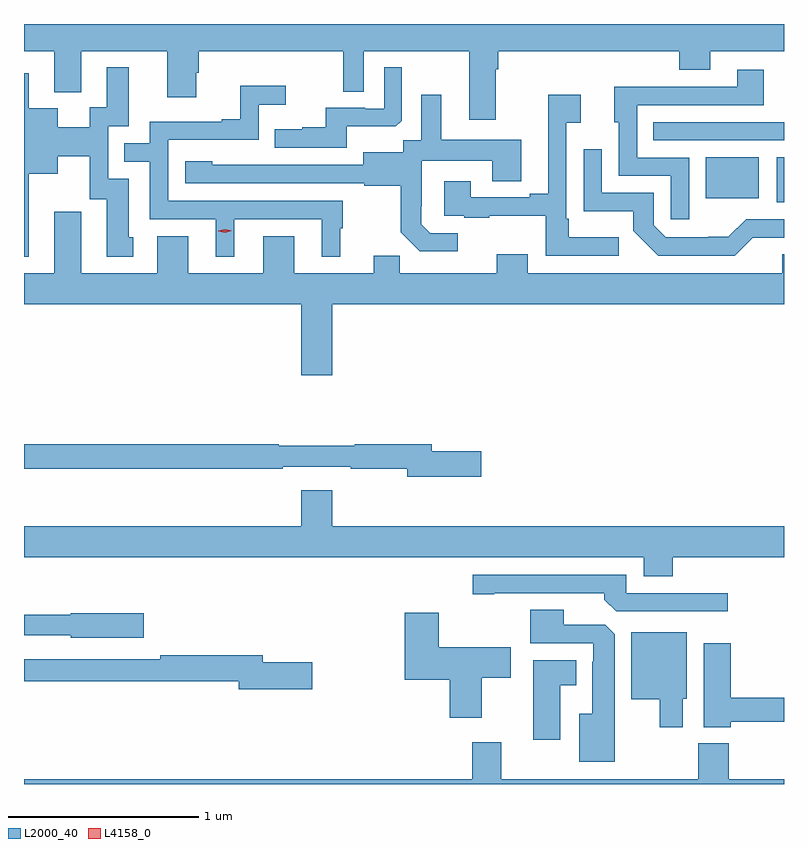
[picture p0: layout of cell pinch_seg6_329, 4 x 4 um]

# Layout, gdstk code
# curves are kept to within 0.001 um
import gdstk
lib = gdstk.Library(unit=1e-6, precision=1e-09)
def R(c, l, rs):  # rectangles x0, y0, x1, y1
    for r in rs: c.add(gdstk.rectangle(r[:2], r[2:], *l))
def P(c, l, *ps):  # polygons
    for p in ps: c.add(gdstk.Polygon(p, *l))
L2000_40 = (2000, 40)
L4158_0 = (4158, 0)

pinch_seg6_329 = lib.new_cell('pinch_seg6_329')
R(pinch_seg6_329, L2000_40, [(730.946,978.509,730.985,978.745), (730.574,978.53,730.852,978.745)])
P(pinch_seg6_329, L2000_40, [(729.469,979.208),(729.482,979.208),(729.482,979.304),(730.433,979.304),(730.433,979.205),(730.597,979.205),(730.597,979.304),(730.985,979.304),(730.985,979.447),(726.985,979.447),(726.985,979.304),(727.145,979.304),(727.145,979.088),(727.285,979.088),(727.285,979.304),(727.739,979.304),(727.739,979.062),(727.891,979.062),(727.891,979.191),(727.904,979.191),(727.904,979.304),(728.664,979.304),(728.664,979.09),(728.772,979.09),(728.772,979.304),(729.329,979.304),(729.329,978.942),(729.469,978.942)],
  [(728.683,978.908),(728.941,978.908),(728.973,978.939),(728.973,979.219),(728.88,979.219),(728.88,979.002),(728.78,979.002),(728.78,979.005),(728.573,979.005),(728.573,978.904),(728.449,978.904),(728.449,978.892),(728.305,978.892),(728.305,978.795),(728.683,978.795)],
  [(727.009,978.659),(727.162,978.659),(727.162,978.752),(727.332,978.752),(727.332,978.525),(727.421,978.525),(727.421,978.222),(727.561,978.222),(727.561,978.324),(727.537,978.324),(727.537,978.633),(727.428,978.633),(727.428,978.909),(727.537,978.909),(727.537,979.219),(727.421,979.219),(727.421,979.01),(727.331,979.01),(727.331,978.904),(727.162,978.904),(727.162,979.003),(727.009,979.003),(727.009,979.189),(726.985,979.189),(726.985,978.221),(727.009,978.221)],
  [(730.485,978.744),(730.212,978.744),(730.212,979.02),(730.879,979.02),(730.879,979.207),(730.739,979.207),(730.739,979.116),(730.309,979.116),(730.309,979.118),(730.091,979.118),(730.091,978.93),(730.116,978.93),(730.116,978.648),(730.389,978.648),(730.389,978.42),(730.485,978.42)],
  [(728.092,978.42),(728.552,978.42),(728.552,978.221),(728.65,978.221),(728.65,978.372),(728.662,978.372),(728.662,978.516),(727.743,978.516),(727.743,978.837),(728.22,978.837),(728.22,979.022),(728.362,979.022),(728.362,979.121),(728.122,979.121),(728.122,978.946),(728.027,978.946),(728.027,978.933),(727.647,978.933),(727.647,978.819),(727.513,978.819),(727.513,978.723),(727.647,978.723),(727.647,978.42),(727.994,978.42),(727.994,978.221),(728.092,978.221)],
  [(729.268,978.345),(729.123,978.345),(729.076,978.392),(729.076,978.487),(729.078,978.487),(729.078,978.728),(729.449,978.728),(729.449,978.619),(729.601,978.619),(729.601,978.838),(729.181,978.838),(729.181,979.075),(729.077,979.075),(729.077,978.836),(728.982,978.836),(728.982,978.772),(728.771,978.772),(728.771,978.705),(727.977,978.706),(727.977,978.724),(727.833,978.724),(727.833,978.609),(728.775,978.609),(728.775,978.597),(728.967,978.597),(728.967,978.351),(729.067,978.251),(729.268,978.251)],
  [(730.114,978.325),(729.853,978.325),(729.853,978.421),(729.84,978.421),(729.84,978.926),(729.916,978.926),(729.916,979.075),(729.743,979.075),(729.743,978.553),(729.647,978.553),(729.647,978.534),(729.337,978.534),(729.337,978.619),(729.197,978.619),(729.197,978.438),(729.301,978.438),(729.301,978.426),(729.433,978.426),(729.433,978.437),(729.732,978.437),(729.732,978.228),(730.114,978.228)],
  [(730.985,978.931),(730.975,978.931),(730.975,978.93),(730.297,978.93),(730.297,978.834),(730.985,978.834)],
  [(730.82,978.323),(730.985,978.323),(730.985,978.42),(730.785,978.42),(730.691,978.326),(730.586,978.326),(730.586,978.324),(730.362,978.324),(730.299,978.387),(730.299,978.558),(730.026,978.558),(730.026,978.787),(729.93,978.787),(729.93,978.461),(730.192,978.461),(730.192,978.359),(730.322,978.228),(730.725,978.228)],
  [(727.685,978.331),(727.685,978.136),(727.285,978.136),(727.285,978.46),(727.145,978.46),(727.145,978.136),(726.985,978.136),(726.985,977.972),(728.444,977.972),(728.444,977.598),(728.608,977.598),(728.608,977.972),(730.985,977.972),(730.985,978.234),(730.976,978.234),(730.976,978.136),(729.637,978.136),(729.637,978.235),(729.473,978.235),(729.473,978.136),(728.963,978.136),(728.963,978.227),(728.825,978.227),(728.825,978.136),(728.407,978.136),(728.407,978.331),(728.243,978.331),(728.243,978.136),(727.849,978.136),(727.849,978.331)],
  [(729.391,977.198),(729.13,977.198),(729.13,977.234),(728.726,977.234),(728.726,977.227),(728.326,977.227),(728.326,977.234),(726.985,977.234),(726.985,977.106),(728.348,977.106),(728.348,977.118),(728.704,977.118),(728.704,977.106),(729.002,977.106),(729.002,977.063),(729.391,977.063)],
  [(730.4,976.64),(730.985,976.64),(730.985,976.804),(728.608,976.804),(728.608,976.993),(728.444,976.993),(728.444,976.804),(726.985,976.804),(726.985,976.64),(730.247,976.64),(730.247,976.541),(730.4,976.541)],
  [(730.69,976.452),(730.155,976.452),(730.155,976.548),(729.348,976.548),(729.348,976.447),(729.46,976.447),(729.46,976.452),(730.04,976.452),(730.04,976.418),(730.101,976.356),(730.69,976.356)],
  [(730.093,976.235),(730.044,976.284),(729.826,976.284),(729.826,976.363),(729.65,976.363),(729.65,976.188),(729.981,976.188),(729.981,976.091),(729.977,976.091),(729.977,975.817),(729.908,975.817),(729.908,975.563),(730.093,975.563)],
  [(729.394,976.006),(729.547,976.006),(729.547,976.168),(729.168,976.168),(729.168,976.348),(728.99,976.348),(728.99,975.995),(729.227,975.995),(729.227,975.795),(729.394,975.795)],
  [(727.615,976.347),(727.23,976.347),(727.23,976.339),(726.985,976.339),(726.985,976.23),(727.23,976.23),(727.23,976.217),(727.615,976.217)],
  [(730.453,975.897),(730.474,975.897),(730.474,976.246),(730.181,976.246),(730.181,975.893),(730.331,975.893),(730.331,975.747),(730.453,975.747)],
  [(730.704,975.774),(730.985,975.774),(730.985,975.902),(730.704,975.902),(730.704,976.189),(730.562,976.189),(730.562,975.746),(730.704,975.746)],
  [(728.503,976.088),(728.242,976.088),(728.242,976.124),(727.702,976.124),(727.702,976.104),(726.985,976.104),(726.985,975.988),(728.114,975.988),(728.114,975.946),(728.503,975.946)],
  [(729.808,975.968),(729.892,975.968),(729.892,976.099),(729.665,976.099),(729.665,975.681),(729.808,975.681)],
  [(730.985,975.472),(730.694,975.472),(730.694,975.661),(730.534,975.661),(730.534,975.472),(729.496,975.472),(729.496,975.667),(729.344,975.667),(729.344,975.472),(726.985,975.472),(726.985,975.447),(730.985,975.447)])
P(pinch_seg6_329, L4158_0, [(728.043,978.348),(728.008,978.357),(728.007,978.357),(728.008,978.358),(728.043,978.368),(728.078,978.359),(728.079,978.359),(728.078,978.359)])

lib.write_gds('pinch_seg6_329.gds')
